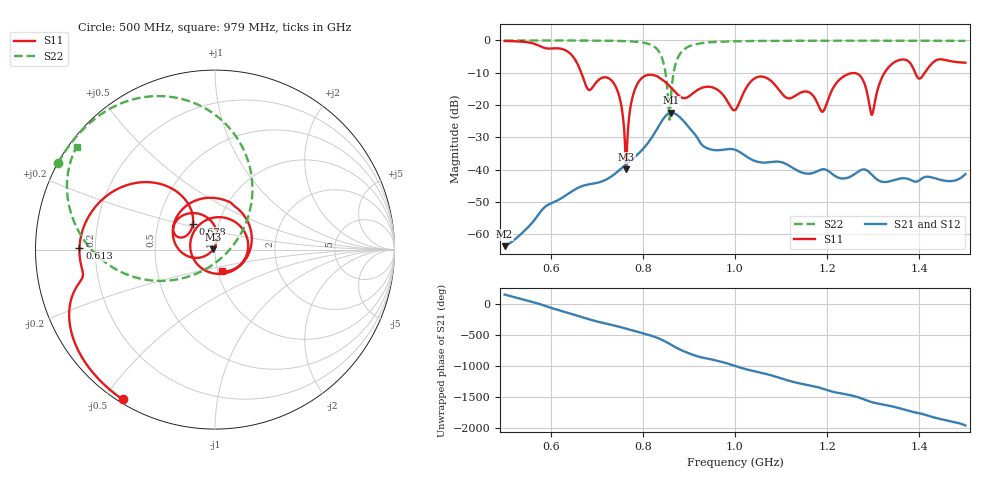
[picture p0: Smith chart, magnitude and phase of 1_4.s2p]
! TOUCHSTONE file generated by CST MICROWAVE STUDIO
! Date and time: Sat Nov 14 19:58:00 2020
! Project name: Scenario_1_Planar_Body_Tissue_Out_of_Line.cst
! Parameters = {dy1=346; L_HA=400; Ltissue=700; MT=2.54; Rad_Dielectric=30; Rad_Lower=7.3; Rad_Upper=30; Wtissue=700; a_HA=580; a_WG=246; b_HA=500; b_WG=121; c_HA=0; c_WG=187; d_feed=85; dx1=693; h_feed=15; h_lower=18; h_upper=40; hfat=3; hgap=25; hmuscle=50; hskin=1.5}
! Header version: 2018
! Port assignment regex: !\s*Touchstone port\s*([0-9]+)\s*=\s*(CST MWS port|CST DS port)\s*([0-9]+|Zmin|Zmax)\s*\(\"(.*)\"\)(\s*mode\s*([0-9]+))?.*
! Touchstone port assignment:
! Touchstone port 1 = CST MWS port 1 ("")
! Touchstone port 2 = CST MWS port 2 ("")
# GHz S DB R 50
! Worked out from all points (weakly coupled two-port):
!   1003 points, 500 MHz to 1.5 GHz, reference 50 ohm
!   highest |S21| = -22.42 dB at 862 MHz (marker M1); lowest = -63.7 dB at 500 MHz (marker M2)
!   lowest |S11| = -39.9 dB at 764 MHz (marker M3), VSWR 1.02, Z = 49 + j0.191 ohm
!   |S11| at or under -10 dB: 666.3 MHz to 1.325 GHz (658.4 MHz wide, 66.1 % of centre); 1.391 GHz to 1.412 GHz (20.91 MHz wide, 1.49 % of centre)
!   |S22| runs from -24.5 to 0.0 dB; largest |S21 - S12| = 1e-05
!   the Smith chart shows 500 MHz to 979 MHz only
!   S11 on the Smith chart (normalised r, x): 500 MHz: 0.01, -0.56; 613 MHz: 0.14, +0.00; 678 MHz: 0.75, +0.22; 979 MHz: 1.05, -0.26
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0.5  -0.17 -121.7  -63.73 158.7  -63.73 158.7  -0.01 151.2
0.613  -2.44 179.4  -49.68 -84.1  -49.68 -84.1  -0.02 143.1
0.667  -10.27 120.5  -45.18 155.1  -45.18 155.1  -0.04 138.4
0.678  -14.47 130.7  -44.73 130.0  -44.73 130.0  -0.05 137.3
0.736  -13.09 115.0  -41.69 22.0  -41.69 22.0  -0.13 129.9
0.764  -39.94 168.9  -38.34 -31.9  -38.34 -31.9  -0.23 124.6
0.787  -13.78 178.8  -35.52 -79.1  -35.52 -79.1  -0.44 118.1
0.834  -11.36 68.8  -26.67 172.6  -26.67 172.6  -3.27 83.6
0.862  -14.72 -12.4  -22.42 64.7  -22.42 64.7  -15.65 -126.8
0.887  -17.84 -116.1  -24.75 -30.2  -24.74 -30.3  -3.09 178.8
0.926  -14.79 83.0  -31.94 -133.8  -31.94 -133.8  -0.88 155.8
0.979  -17.80 -71.2  -33.75 135.8  -33.75 135.8  -0.35 143.3
1  -21.57 -178.6  -33.86 86.7  -33.86 86.7  -0.27 140.3
1.052  -11.24 -15.8  -37.69 -15.9  -37.69 -15.9  -0.16 134.2
1.1  -16.13 -156.5  -37.69 -113.5  -37.69 -113.5  -0.12 129.7
1.167  -16.71 -27.1  -41.14 125.3  -41.14 125.3  -0.10 124.2
1.191  -22.03 -156.0  -39.89 77.7  -39.89 77.7  -0.09 122.4
1.262  -10.17 7.6  -41.16 -47.4  -41.16 -47.4  -0.09 117.0
1.297  -23.06 10.3  -41.62 -138.4  -41.62 -138.4  -0.08 114.4
1.334  -8.19 28.2  -43.69 165.5  -43.69 165.5  -0.09 111.5
1.38  -6.99 -33.0  -43.14 74.2  -43.14 74.2  -0.09 108.0
1.5  -6.90 -46.7  -41.40 -154.1  -41.40 -154.1  -0.13 98.0
